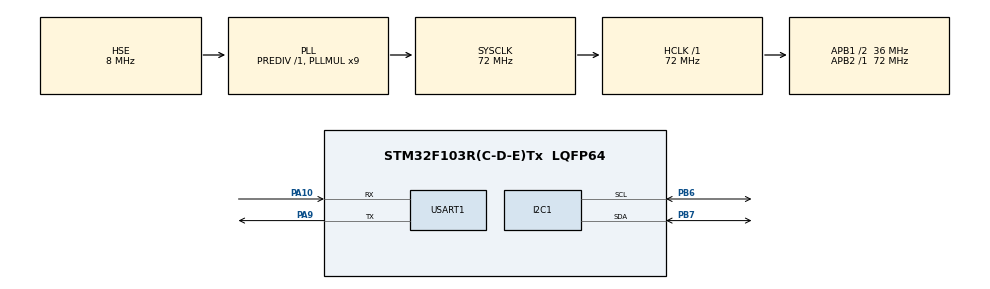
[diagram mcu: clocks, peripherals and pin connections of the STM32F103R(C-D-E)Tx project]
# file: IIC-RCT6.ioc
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Mcu.Family=STM32F1
Mcu.Name=STM32F103R(C-D-E)Tx
Mcu.Package=LQFP64
NVIC.PriorityGroup=NVIC_PRIORITYGROUP_4
PA10.Mode=Asynchronous
PA10.Signal=USART1_RX
PA13.Mode=Serial_Wire
PA13.Signal=SYS_JTMS-SWDIO
PA14.Mode=Serial_Wire
PA14.Signal=SYS_JTCK-SWCLK
PA9.Mode=Asynchronous
PA9.Signal=USART1_TX
PB6.Mode=I2C
PB6.Signal=I2C1_SCL
PB7.Mode=I2C
PB7.Signal=I2C1_SDA
PD0-OSC_IN.Mode=HSE-External-Oscillator
PD0-OSC_IN.Signal=RCC_OSC_IN
PD1-OSC_OUT.Mode=HSE-External-Oscillator
PD1-OSC_OUT.Signal=RCC_OSC_OUT
ProjectManager.HeapSize=0x200
ProjectManager.StackSize=0x400
ProjectManager.TargetToolchain=MDK-ARM V5.32
RCC.AHBFreq_Value=72000000
RCC.APB1CLKDivider=RCC_HCLK_DIV2
RCC.APB1Freq_Value=36000000
RCC.APB1TimFreq_Value=72000000
RCC.APB2Freq_Value=72000000
RCC.APB2TimFreq_Value=72000000
RCC.HCLKFreq_Value=72000000
RCC.PLLMUL=RCC_PLL_MUL9
RCC.PLLSourceVirtual=RCC_PLLSOURCE_HSE
RCC.SYSCLKFreq_VALUE=72000000
RCC.SYSCLKSource=RCC_SYSCLKSOURCE_PLLCLK
RCC.USBFreq_Value=72000000
USART1.VirtualMode=VM_ASYNC
board=custom

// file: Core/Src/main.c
/* USER CODE BEGIN Header */
/**
  ******************************************************************************
  * @file           : main.c
  * @brief          : Main program body
  ******************************************************************************
  * @attention
  *
  * Copyright (c) 2026 STMicroelectronics.
  * All rights reserved.
  *
  * This software is licensed under terms that can be found in the LICENSE file
  * in the root directory of this software component.
  * If no LICENSE file comes with this software, it is provided AS-IS.
  *
  ******************************************************************************
  */
/* USER CODE END Header */
#include "main.h"
#include "i2c.h"
#include "usart.h"
#include "gpio.h"

/* USER CODE BEGIN Includes */

#include <stdio.h>
#include <string.h>

#include "board_config.h"
#include "mcp_diag.h"
#include "mcp_transport.h"
#include "mcp_protocol.h"
#include "mcp_tools.h"
#include "mcp_registration.h"
#include "retarget_io.h"
#include "led.h"

/* USER CODE END Includes */

/* USER CODE BEGIN PV */

/* Receive buffer. One byte larger than the protocol's capacity so the
 * NUL-terminator MCP_Rx_Start() appends always has a home. */
static uint8_t  mcp_rx_buf[MCP_RX_BUF_LEN + 1U];
static mcp_rx_t mcp_rx;

static uint32_t mcp_last_poll_tick     = 0U;
static uint32_t mcp_last_register_tick = 0U;
static uint32_t mcp_last_status_tick   = 0U;

/* One transaction, no chunking -- see mcp_transport.h for why that is a
 * correctness requirement and not a shortcut. */
static const char MCP_ACK_JSON[] = "{\"command\":\"action_finish\",\"params\":\"true\"}";

/* USER CODE END PV */

void SystemClock_Config(void);

int main(void)
{

  /* MCU Configuration--------------------------------------------------------*/

  /* Reset of all peripherals, Initializes the Flash interface and the Systick. */
  HAL_Init();

  /* Configure the system clock */
  SystemClock_Config();

  /* Initialize all configured peripherals */
  MX_GPIO_Init();
  MX_I2C1_Init();
  MX_USART1_UART_Init();
  /* USER CODE BEGIN 2 */

  MCP_RetargetInit(&huart1);
  MCP_DiagReset();
  MCP_Rx_Init(&mcp_rx);
  mcp_i2c_speed_hz = MCP_I2C_SPEED_READ;   /* matches MX_I2C1_Init: 100 kHz */

  /* Back-date the registration timer so the retry condition is already
   * satisfied on the very first poll iteration. The module only accepts
   * registration during its own startup window, so we must start writing as
   * early as possible rather than waiting out a full retry period first. */
  mcp_last_register_tick = HAL_GetTick() - MCP_REG_RETRY_MS;

  MCP_LedInit();

  printf("\r\n\r\n=== WonderLLM MCP bring-up (STM32 as I2C master) ===\r\n");
  printf("MCU STM32F103RCT6 @ %lu Hz\r\n", (unsigned long)SystemCoreClock);
  printf("I2C slave 0x%02X (HAL write 0x%02X / read 0x%02X)\r\n",
         (unsigned)MCP_ADDR_7BIT,
         (unsigned)MCP_ADDR_HAL_W,
         (unsigned)MCP_ADDR_HAL_R);
  printf("\r\nSTARTUP ORDER THAT MATTERS:\r\n");
  printf("  The module only accepts MCP tool registration during its own\r\n");
  printf("  startup window. This firmware retries registration every\r\n");
  printf("  %u ms until frames start arriving.\r\n", (unsigned)MCP_REG_RETRY_MS);
  printf("  => POWER-CYCLE THE ESP32-S3 MODULE NOW, while this runs.\r\n\r\n");

  /* USER CODE END 2 */

  /* Infinite loop */
  /* USER CODE BEGIN WHILE */
  while (1)
  {
    uint32_t now = HAL_GetTick();
    uint16_t got = 0U;

    /* Drain the log buffer. Bounded per pass so a backlog is spread across
     * loop iterations instead of monopolising one -- the console must never
     * become the reason the bus is late. */
    MCP_RetargetService(32U);

    if ((now - mcp_last_poll_tick) >= MCP_POLL_INTERVAL_MS)
    {
      mcp_last_poll_tick = now;

      /* ---- Registration retry -------------------------------------------
       * Re-send the tool registration periodically until a frame actually
       * carries JSON, i.e. until the model has been given its tools and has
       * responded.
       *
       * This deliberately does NOT stop at the first frame received. Stopping
       * at any frame meant the module's first 1-byte power-on notice
       * permanently disabled registration, and since the module only honours
       * registration during its startup window, a later module reboot could
       * then never be registered at all -- which is why talking to the model
       * produced nothing on the bus.
       * Re-sending costs one short write when already registered. -------- */
      if ((mcp_json_frames == 0U) && ((now - mcp_last_register_tick) >= MCP_REG_RETRY_MS))
      {
        mcp_last_register_tick = now;
        mcp_register_attempts++;

        if (MCP_Probe(&hi2c1) == HAL_OK)
        {
          mcp_probe_ok_count++;
          MCP_LedNoteProbeOk();

          if (MCP_ToolsRegister(&hi2c1) == HAL_OK)
          {
            mcp_register_ok++;
            mcp_state = (uint32_t)MCP_STATE_SILENT;
            printf("[%lu ms] registration #%lu sent (0x%02X ACK, %lu bytes total)\r\n",
                   (unsigned long)now, (unsigned long)mcp_register_ok,
                   (unsigned)MCP_ADDR_7BIT, (unsigned long)mcp_tx_total_bytes);
          }
          else
          {
            mcp_last_error = HAL_I2C_GetError(&hi2c1);
            printf("[%lu ms] registration FAILED  status=%lu err=0x%03lX\r\n",
                   (unsigned long)now, (unsigned long)mcp_last_status,
                   (unsigned long)mcp_last_error);
          }
        }
        else
        {
          mcp_probe_count++;
          mcp_last_error = HAL_I2C_GetError(&hi2c1);
          printf("[%lu ms] 0x%02X not responding  err=0x%03lX\r\n",
                 (unsigned long)now, (unsigned)MCP_ADDR_7BIT,
                 (unsigned long)mcp_last_error);
        }
      }

      /* ---- Receive one frame -------------------------------------------- */
      {
        mcp_rx_result_t res = MCP_Rx_Start(&mcp_rx, &hi2c1, mcp_rx_buf,
                                           (uint16_t)(MCP_RX_BUF_LEN - 1U), &got);

        mcp_last_status = MCP_Rx_LastHalStatus();

        if (res == MCP_RX_OK)
        {
          mcp_frames_ok++;
          mcp_state = (uint32_t)MCP_STATE_ACTIVE;
          mcp_last_len = got;
          MCP_LedNoteFrame(now);
          mcp_read_fail = 0U;   /* any success clears the consecutive-fault run */

          memset((void *)mcp_last_payload, 0, sizeof(mcp_last_payload));
          if (got < MCP_RX_BUF_LEN)
          {
            memcpy((void *)mcp_last_payload, mcp_rx_buf, got);
          }

          if (mcp_rx_buf[0] == (uint8_t)MCP_JSON_PREFIX)
          {
            mcp_json_frames++;
          }

          printf("\r\n=== MCP FRAME #%lu  len=%u  header=%02X %02X %02X %02X %02X %02X %02X %02X ===\r\n",
                 (unsigned long)mcp_frames_ok, (unsigned)got,
                 (unsigned)mcp_last_header[0], (unsigned)mcp_last_header[1],
                 (unsigned)mcp_last_header[2], (unsigned)mcp_last_header[3],
                 (unsigned)mcp_last_header[4], (unsigned)mcp_last_header[5],
                 (unsigned)mcp_last_header[6], (unsigned)mcp_last_header[7]);
          MCP_Dump(mcp_rx_buf, got);

          if ((got == 1U) && (mcp_rx_buf[0] < MCP_JSON_PREFIX))
          {
            /* The module's own status broadcast, not a model tool call.
             * State 5 (listening) means it is up and ready for speech. */
            printf("    ^ module status: %u = %s\r\n",
                   (unsigned)mcp_rx_buf[0], MCP_StateName(mcp_rx_buf[0]));
          }

          /* Any JSON object is treated as a tool call and acknowledged.
           *
           * This deliberately does NOT require a "tool_name" field. Measured
           * against the real module, the payload arrives as bare parameters:
           *     {"heading_deg":0,"speed_pct":30,"duration_ms":1000}
           * -- no tool_name wrapper. Demanding tool_name meant the call was
           * received, reassembled and checksummed correctly, yet never
           * acknowledged, so the model blocked forever waiting: both tools are
           * registered with "block":"true", and the vendor host states plainly
           * that without this response the model waits indefinitely.
           *
           * Identified by the leading '{' rather than by content, so it stays
           * correct whichever wrapper this firmware version uses. A 1-byte
           * status frame never starts with '{'. */
          if ((got > 1U) && (mcp_rx_buf[0] == (uint8_t)MCP_JSON_PREFIX))
          {
            mcp_tool_calls++;

            /* Name the tool from its parameter set: these are the only two
             * tools registered, and their argument names are disjoint. */
            if (strstr((char *)mcp_rx_buf, "heading_deg") != NULL)
            {
              printf(">>> TOOL CALL: move_linear -- replying action_finish\r\n");
            }
            else if (strstr((char *)mcp_rx_buf, "turn") != NULL)
            {
              printf(">>> TOOL CALL: drive_arc -- replying action_finish\r\n");
            }
            else
            {
              printf(">>> TOOL CALL (unrecognised parameter set) -- replying action_finish\r\n");
            }

            if (MCP_SendBytes(&hi2c1, (const uint8_t *)MCP_ACK_JSON,
                              (uint16_t)(sizeof(MCP_ACK_JSON) - 1U)) == HAL_OK)
            {
              mcp_finish_sent++;
              printf("    action_finish sent\r\n");
            }
            else
            {
              printf("    action_finish FAILED err=0x%03lX\r\n",
                     (unsigned long)HAL_I2C_GetError(&hi2c1));
            }
          }
        }
        else
        {
          mcp_last_error = MCP_Rx_LastHalError();

          /* An idle slave simply does not answer a read request, so a NACK is
           * the NORMAL "no frame waiting" result -- the vendor host treats it
           * the same way and just retries. Counting it as a fault used to
           * trigger a bus recovery every 2 seconds while idle, and that reset
           * tears the peripheral down and bit-bangs SCL/SDA, which can cut
           * across a transfer the module is starting.
           *
           * Only a genuine bus fault justifies recovery. */
          if (res == MCP_RX_NOTHING)
          {
            mcp_nack_count++;      /* expected while nothing is being sent */
          }
          else if (res == MCP_RX_FAULT)
          {
            mcp_read_fail++;

            if (mcp_read_fail >= MCP_BUS_FAULT_LIMIT)
            {
              mcp_read_fail = 0U;
              mcp_bus_recover_count++;
              printf("[%lu ms] bus fault err=0x%03lX -- recovering (#%lu)\r\n",
                     (unsigned long)now, (unsigned long)mcp_last_error,
                     (unsigned long)mcp_bus_recover_count);
              MCP_BusRecover(&hi2c1);
            }
          }
          /* MCP_RX_BAD_HEADER / MCP_RX_BAD_CHECKSUM were already counted where
           * they were detected, and are not bus faults. */
        }
      }

      /* ---- Periodic status summary ---------------------------------------
       * Without this, "no output" is ambiguous: it could mean the module is
       * quiet (idle, normal) or that every read is failing (broken). ----- */
      if ((now - mcp_last_status_tick) >= MCP_STATUS_INTERVAL_MS)
      {
        mcp_last_status_tick = now;
        MCP_StatusReport(now);
      }
    }

    MCP_LedService();

    /* USER CODE END WHILE */

  }
}

void SystemClock_Config(void)
{
  RCC_OscInitTypeDef RCC_OscInitStruct = {0};
  RCC_ClkInitTypeDef RCC_ClkInitStruct = {0};

  /** Initializes the RCC Oscillators according to the specified parameters
  * in the RCC_OscInitTypeDef structure.
  */
  RCC_OscInitStruct.OscillatorType = RCC_OSCILLATORTYPE_HSE;
  RCC_OscInitStruct.HSEState = RCC_HSE_ON;
  RCC_OscInitStruct.HSEPredivValue = RCC_HSE_PREDIV_DIV1;
  RCC_OscInitStruct.HSIState = RCC_HSI_ON;
  RCC_OscInitStruct.PLL.PLLState = RCC_PLL_ON;
  RCC_OscInitStruct.PLL.PLLSource = RCC_PLLSOURCE_HSE;
  RCC_OscInitStruct.PLL.PLLMUL = RCC_PLL_MUL9;
  if (HAL_RCC_OscConfig(&RCC_OscInitStruct) != HAL_OK)
  {
    Error_Handler();
  }

  /** Initializes the CPU, AHB and APB buses clocks
  */
  RCC_ClkInitStruct.ClockType = RCC_CLOCKTYPE_HCLK|RCC_CLOCKTYPE_SYSCLK
                              |RCC_CLOCKTYPE_PCLK1|RCC_CLOCKTYPE_PCLK2;
  RCC_ClkInitStruct.SYSCLKSource = RCC_SYSCLKSOURCE_PLLCLK;
  RCC_ClkInitStruct.AHBCLKDivider = RCC_SYSCLK_DIV1;
  RCC_ClkInitStruct.APB1CLKDivider = RCC_HCLK_DIV2;
  RCC_ClkInitStruct.APB2CLKDivider = RCC_HCLK_DIV1;

  if (HAL_RCC_ClockConfig(&RCC_ClkInitStruct, FLASH_LATENCY_2) != HAL_OK)
  {
    Error_Handler();
  }
}

void Error_Handler(void)
{
  __disable_irq();
  while (1)
  {
  }
}
